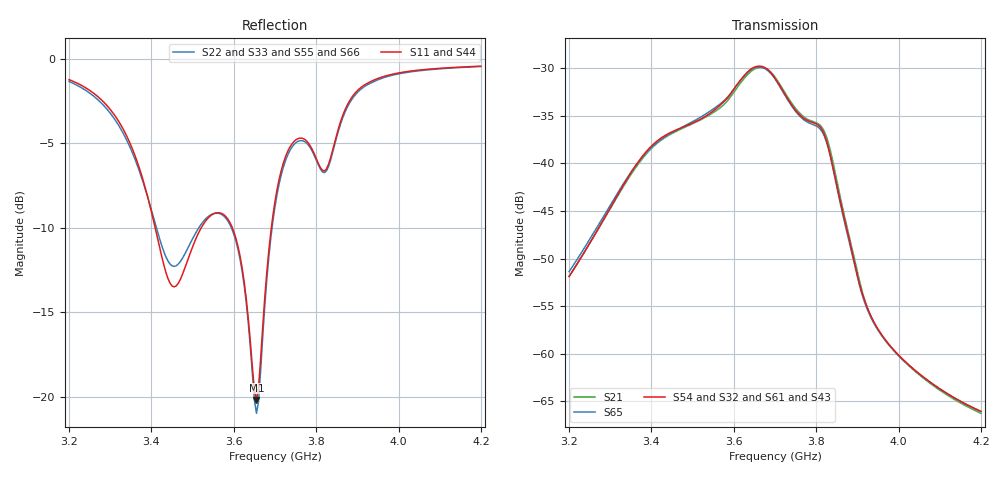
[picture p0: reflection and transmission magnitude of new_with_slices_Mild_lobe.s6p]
! Touchstone file exported from HFSS 2024.2.0
!  File:  D:/Jatin/new_with_slices.aedt
!  Generated:  09:02:46 PM Oct  3, 2026
!  Design:  Mild_lobe
!  Project:  new_with_slices
!  Setup:  Setup1
!  Solution:  Sweep
! Variables:
!  $L = 85mm
!  $W = 35mm
!  H = 1.575mm
!  L = 42mm
!  W = 35mm
!  Wb = 6mm
!  a = 3.5mm
!  ant_dist = 115mm
!  ant_gap = 3mm
!  b = 5mm
!  c = 5mm
!  d = 2mm
!  e_S1 = 0mm
!  e_S2 = 7.5mm
!  e_S3 = 11.5mm
!  e_S4 = 0mm
!  e_S5 = 11.5mm
!  e_S6 = 7.5mm
!  g1 = 2mm
!  g2 = 2mm
!  g3 = 1mm
!  g4 = 2mm
!  gap = 10mm
!  r1 = 3.5mm
!  r2 = 6mm
!  r_brain = 95mm
!  r_brain_ad = 61.68mm
!  r_csf = 95.5mm
!  r_csf_expanded = 64.6mm
!  r_csf_inner = 61.68mm
!  r_csf_outer = 83.5mm
!  r_fat = 87.5mm
!  r_gray = 70.55mm
!  r_gray_healthy = 83mm
!  r_grey_healthy = 83mm
!  r_hip = 17.5mm
!  r_hippo_healthy = 25mm
!  r_skin = 88mm
!  r_skull = 86.5mm
!  r_white = 17.5mm
!  r_white_healthy = 76mm
!  slot_distance = 15mm
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# GHz S MA R 50.000000
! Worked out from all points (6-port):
!   201 points, 3.2 GHz to 4.2 GHz, reference 50 ohm
!   strongest paths, dB at 3.2 GHz, 3.45 GHz, 3.7 GHz, 3.95 GHz, 4.2 GHz:
!     S54: -51.9, -36.7, -31.0, -57.4, -66.1
!     S65: -51.4, -36.8, -31.1, -57.5, -66.1
!     S32: -51.5, -36.9, -31.2, -57.7, -66.2
!     S61: -51.9, -36.8, -31.0, -57.4, -66.1
!     S43: -52.0, -36.7, -31.3, -57.6, -66.2
!     S21: -51.9, -36.8, -30.9, -57.5, -66.3
!   lowest |S11| = -20.2 dB at 3.655 GHz (marker M1), VSWR 1.22, Z = 43.2 - j6.14 ohm
!   |S11| at or under -10 dB: 3.409 GHz to 3.521 GHz (112 MHz wide, 3.23 % of centre); 3.596 GHz to 3.691 GHz (94.87 MHz wide, 2.6 % of centre)
